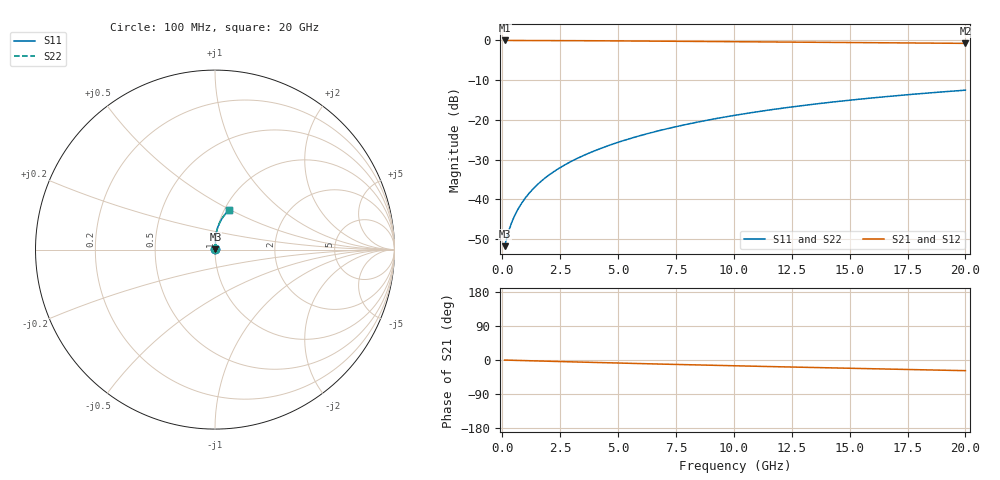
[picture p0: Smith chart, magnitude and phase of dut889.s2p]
! Touchstone file exported from HFSS 2024.1.0
!  File:  C:/UserFiles/LocalFiles/RDL_TSV_Batchsim/temp_RDL_bottom_889_1779865837.aedt
!  Generated:  03:13:03 PM May 27, 2026
!  Design:  RDL_bottom
!  Project:  temp_RDL_bottom_889_1779865837
!  Setup:  Setup1
!  Solution:  Sweep
! Variables:
!  dtsv = 10.80580581um
!  hbump = 3um
!  htsv = 86.41um
!  ldown = 420.13um
!  lrdl = 100um
!  p = 40
!  p1 = 41.63um
!  rhole = 1um
!  t = 450um
!  tdown = 3.12um
!  trdl = 3.915915916um
!  wdown = 23.46um
!  wrdl = 20um
# GHz S MA R 50.000000
! Terminal data exported
! Port[1] = RDL1_T1
! Port[2] = RDL1_T2
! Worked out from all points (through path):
!   200 points, 100 MHz to 20 GHz, reference 50 ohm
!   highest |S21| = -0.02 dB at 100 MHz (marker M1); lowest = -0.8 dB at 20 GHz (marker M2)
!   group delay of S21, straight-line fit = 3.87 ps
!   lowest |S11| = -51.8 dB at 100 MHz (marker M3), VSWR 1.01, Z = 50.2 + j0.118 ohm
!   |S11| at or under -10 dB: start of sweep to end of sweep
!   |S22| runs from -51.8 to -12.5 dB; largest |S21 - S12| = 2e-15
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0.1  0.00257 27.1  0.9977 -0.2  0.9977 -0.2  0.00257 27.1
! Gamma 0 0 0 0
! Port Impedance 50 0 50 0
0.3  0.004173 52.6  0.9974 -0.5  0.9974 -0.5  0.004173 52.6
0.4  0.005049 58.4  0.9972 -0.7  0.9972 -0.7  0.00505 58.4
0.5  0.005927 62.6  0.9971 -0.9  0.9971 -0.9  0.005927 62.6
0.6  0.006809 65.9  0.997 -1.0  0.997 -1.0  0.006809 65.9
0.8  0.008599 70.7  0.9967 -1.3  0.9967 -1.3  0.008599 70.7
1  0.01043 74.1  0.9965 -1.7  0.9965 -1.7  0.01043 74.1
1.2  0.01229 76.7  0.9962 -2.0  0.9962 -2.0  0.0123 76.7
1.7  0.01709 80.8  0.9954 -2.8  0.9954 -2.8  0.01709 80.8
2.2  0.02203 83.2  0.9944 -3.6  0.9944 -3.6  0.02203 83.2
2.8  0.02813 85.1  0.9929 -4.6  0.9929 -4.6  0.02813 85.1
3.5  0.03549 86.4  0.9907 -5.7  0.9907 -5.7  0.03549 86.4
4.2  0.04311 87.1  0.9883 -6.8  0.9883 -6.8  0.0431 87.1
5  0.05212 87.5  0.9852 -8.0  0.9852 -8.0  0.05211 87.5
5.9  0.06261 87.5  0.9814 -9.4  0.9814 -9.4  0.06259 87.5
6.8  0.07342 87.1  0.9774 -10.7  0.9774 -10.7  0.0734 87.1
8.4  0.09323 85.9  0.97 -13.0  0.97 -13.0  0.0932 85.8
10.1  0.1148 84.0  0.962 -15.4  0.962 -15.4  0.1147 84.0
11.7  0.1351 82.0  0.9546 -17.5  0.9546 -17.5  0.1351 81.9
13.4  0.1567 79.6  0.9468 -19.8  0.9468 -19.8  0.1566 79.6
16.7  0.1974 74.9  0.9319 -24.0  0.9319 -24.0  0.1973 74.9
20  0.2362 70.3  0.9172 -28.1  0.9172 -28.1  0.2361 70.2
